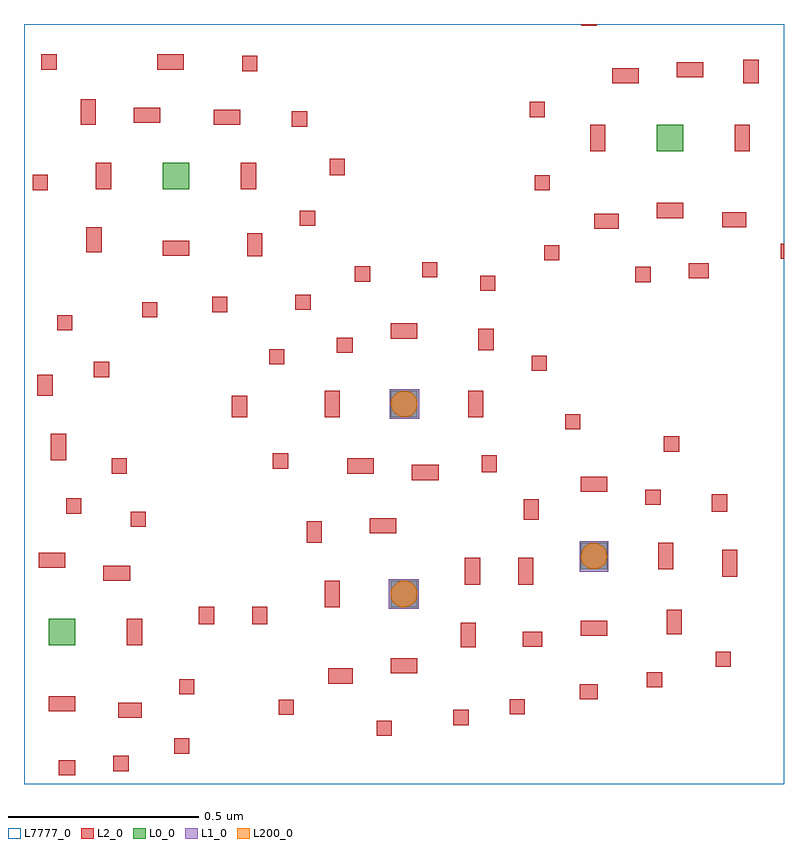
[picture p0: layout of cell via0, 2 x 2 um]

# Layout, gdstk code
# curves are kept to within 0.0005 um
import gdstk
lib = gdstk.Library(unit=1e-6, precision=1e-09)
def R(c, l, rs):  # rectangles x0, y0, x1, y1
    for r in rs: c.add(gdstk.rectangle(r[:2], r[2:], *l))
def P(c, l, *ps):  # polygons
    for p in ps: c.add(gdstk.Polygon(p, *l))
L0_0 = (0, 0)
L1_0 = (1, 0)
L2_0 = (2, 0)
L200_0 = (200, 0)
L7777_0 = (7777, 0)

via0 = lib.new_cell('via0')
R(via0, L0_0, [(79.515,31.265,79.585,31.335), (80.415,31.365,80.485,31.435), (80.915,31.465,80.985,31.535), (80.415,31.865,80.485,31.935), (79.815,32.465,79.885,32.535), (81.115,32.565,81.185,32.635)])
R(via0, L1_0, [(80.41,31.361,80.489,31.439), (80.912,31.459,80.988,31.539), (80.412,31.861,80.49,31.939)])
R(via0, L2_0, [(79.542,30.923,79.585,30.963), (79.685,30.934,79.725,30.974), (79.845,30.98,79.885,31.02), (80.378,31.027,80.418,31.067), (80.58,31.055,80.62,31.095), (79.698,31.074,79.76,31.114), (80.12,31.082,80.16,31.122), (80.728,31.083,80.768,31.123), (79.515,31.091,79.585,31.131), (80.913,31.123,80.96,31.163), (79.858,31.136,79.898,31.176), (81.089,31.154,81.129,31.194), (80.251,31.164,80.315,31.204), (80.415,31.191,80.485,31.231), (81.27,31.208,81.31,31.248), (80.599,31.26,80.639,31.325), (80.762,31.261,80.814,31.301), (79.721,31.265,79.761,31.335), (80.915,31.29,80.985,31.33), (81.141,31.294,81.181,31.358), (79.91,31.32,79.95,31.367), (80.05,31.32,80.09,31.367), (80.241,31.365,80.281,31.435), (80.61,31.425,80.65,31.495), (80.75,31.425,80.79,31.495), (79.659,31.435,79.729,31.475), (81.287,31.446,81.327,31.516), (81.119,31.465,81.159,31.535), (79.489,31.469,79.559,31.509), (80.194,31.535,80.234,31.591), (80.36,31.56,80.43,31.6), (79.731,31.577,79.771,31.617), (80.765,31.595,80.805,31.65), (79.561,31.611,79.601,31.652), (81.26,31.616,81.3,31.663), (81.085,31.635,81.126,31.675), (80.915,31.669,80.985,31.709), (80.471,31.7,80.541,31.74), (79.681,31.717,79.721,31.757), (80.301,31.717,80.371,31.757), (80.654,31.721,80.694,31.765), (80.105,31.73,80.145,31.77), (79.521,31.752,79.561,31.822), (81.134,31.775,81.174,31.815), (80.874,31.833,80.914,31.873), (79.997,31.865,80.037,31.922), (80.241,31.865,80.281,31.935), (80.619,31.865,80.659,31.935), (79.485,31.922,79.525,31.977), (79.634,31.971,79.674,32.011), (80.786,31.987,80.826,32.027), (80.095,32.004,80.135,32.044), (80.273,32.035,80.315,32.075), (80.646,32.041,80.686,32.098), (80.415,32.072,80.485,32.112), (79.537,32.094,79.577,32.134), (79.761,32.128,79.801,32.168), (79.945,32.142,79.985,32.182), (80.164,32.148,80.204,32.188), (80.65,32.198,80.69,32.238), (81.059,32.221,81.099,32.261), (80.321,32.222,80.361,32.262), (81.199,32.231,81.252,32.271), (80.498,32.233,80.538,32.273), (80.819,32.278,80.859,32.318), (81.442,32.282,81.45,32.322), (80.037,32.289,80.077,32.35), (79.815,32.29,79.885,32.33), (79.614,32.299,79.654,32.365), (80.95,32.361,81.015,32.401), (81.287,32.365,81.351,32.405), (80.176,32.369,80.216,32.409), (81.115,32.389,81.185,32.429), (80.794,32.462,80.834,32.502), (79.473,32.463,79.513,32.503), (79.639,32.465,79.679,32.535), (80.021,32.465,80.061,32.535), (80.254,32.502,80.294,32.545), (80.94,32.565,80.98,32.635), (81.32,32.565,81.36,32.635), (80.155,32.63,80.195,32.67), (79.599,32.635,79.639,32.702), (79.949,32.635,80.019,32.675), (79.739,32.64,79.809,32.68), (80.781,32.655,80.821,32.696), (80.998,32.744,81.068,32.784), (81.343,32.744,81.383,32.806), (81.168,32.76,81.238,32.8), (80.024,32.776,80.064,32.816), (79.496,32.78,79.536,32.82), (79.8,32.78,79.87,32.82), (80.917,32.895,80.957,32.9)])
P(via0, L200_0, [(80.451,31.364),(80.442,31.365),(80.433,31.369),(80.421,31.378),(80.416,31.388),(80.415,31.406),(80.418,31.415),(80.433,31.431),(80.442,31.435),(80.46,31.435),(80.47,31.43),(80.479,31.421),(80.485,31.406),(80.483,31.388),(80.478,31.378),(80.467,31.369)],
  [(80.939,31.466),(80.931,31.471),(80.921,31.48),(80.916,31.489),(80.915,31.498),(80.919,31.517),(80.927,31.526),(80.939,31.533),(80.958,31.534),(80.973,31.526),(80.981,31.517),(80.985,31.498),(80.979,31.48),(80.969,31.471),(80.958,31.466)],
  [(80.44,31.866),(80.425,31.876),(80.419,31.885),(80.415,31.899),(80.417,31.913),(80.423,31.922),(80.433,31.931),(80.442,31.934),(80.46,31.934),(80.47,31.93),(80.479,31.921),(80.483,31.913),(80.485,31.899),(80.485,31.894),(80.479,31.879),(80.47,31.87),(80.461,31.866)])
R(via0, L7777_0, [(79.45,30.9,81.45,32.9)])

lib.write_gds('via0.gds')
